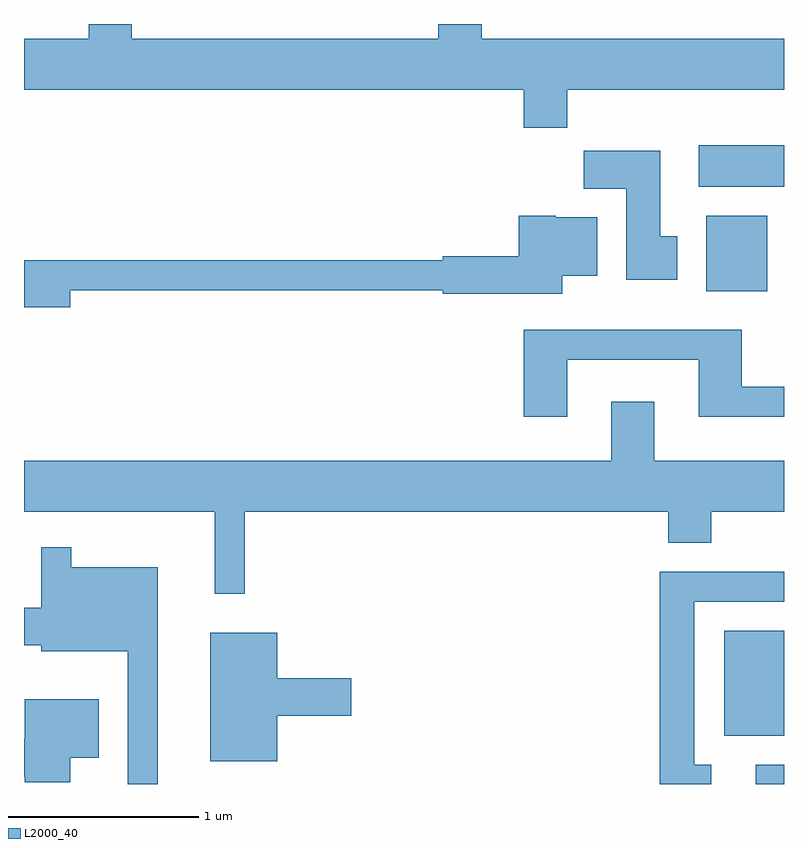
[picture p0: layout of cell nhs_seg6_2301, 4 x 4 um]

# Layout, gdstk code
import gdstk
lib = gdstk.Library(unit=1e-6, precision=1e-09)
def R(c, l, rs):  # rectangles x0, y0, x1, y1
    for r in rs: c.add(gdstk.rectangle(r[:2], r[2:], *l))
def P(c, l, *ps):  # polygons
    for p in ps: c.add(gdstk.Polygon(p, *l))
L2000_40 = (2000, 40)

nhs_seg6_2301 = lib.new_cell('nhs_seg6_2301')
R(nhs_seg6_2301, L2000_40, [(259.461,1544.162,259.611,1544.264), (259.296,1544.416,259.611,1544.969), (259.201,1546.756,259.524,1547.154), (259.161,1547.306,259.611,1547.524)])
P(nhs_seg6_2301, L2000_40, [(258.241,1547.616),(258.469,1547.616),(258.469,1547.816),(259.611,1547.816),(259.611,1548.084),(258.019,1548.084),(258.019,1548.162),(257.791,1548.162),(257.791,1548.084),(256.179,1548.084),(256.179,1548.162),(255.951,1548.162),(255.951,1548.084),(255.611,1548.084),(255.611,1547.816),(258.241,1547.816)],
  [(259.049,1547.044),(258.959,1547.044),(258.959,1547.494),(258.556,1547.494),(258.556,1547.296),(258.781,1547.296),(258.781,1546.816),(259.049,1546.816)],
  [(255.854,1546.761),(257.816,1546.761),(257.816,1546.741),(258.444,1546.741),(258.444,1546.836),(258.629,1546.836),(258.629,1547.144),(258.41,1547.144),(258.41,1547.154),(258.216,1547.154),(258.216,1546.939),(257.816,1546.939),(257.816,1546.919),(255.611,1546.919),(255.611,1546.671),(255.854,1546.671)],
  [(258.469,1546.396),(259.161,1546.396),(259.161,1546.096),(259.611,1546.096),(259.611,1546.254),(259.389,1546.254),(259.389,1546.554),(258.241,1546.554),(258.241,1546.096),(258.469,1546.096)],
  [(256.774,1545.596),(259.001,1545.596),(259.001,1545.431),(259.229,1545.431),(259.229,1545.596),(259.611,1545.596),(259.611,1545.864),(258.929,1545.864),(258.929,1546.174),(258.701,1546.174),(258.701,1545.864),(255.611,1545.864),(255.611,1545.596),(256.616,1545.596),(256.616,1545.163),(256.774,1545.163)],
  [(256.314,1545.304),(255.859,1545.304),(255.859,1545.408),(255.701,1545.408),(255.701,1545.089),(255.611,1545.089),(255.611,1544.891),(255.701,1544.891),(255.701,1544.861),(256.156,1544.861),(256.156,1544.162),(256.314,1544.162)],
  [(259.229,1544.264),(259.139,1544.264),(259.139,1545.121),(259.611,1545.121),(259.611,1545.279),(258.956,1545.279),(258.956,1544.162),(259.229,1544.162)],
  [(256.944,1544.521),(257.334,1544.521),(257.334,1544.719),(256.944,1544.719),(256.944,1544.959),(256.591,1544.959),(256.591,1544.281),(256.944,1544.281)],
  [(255.854,1544.301),(256.004,1544.301),(256.004,1544.609),(255.616,1544.609),(255.616,1544.399),(255.611,1544.399),(255.611,1544.201),(255.616,1544.201),(255.616,1544.171),(255.854,1544.171)])

lib.write_gds('nhs_seg6_2301.gds')
